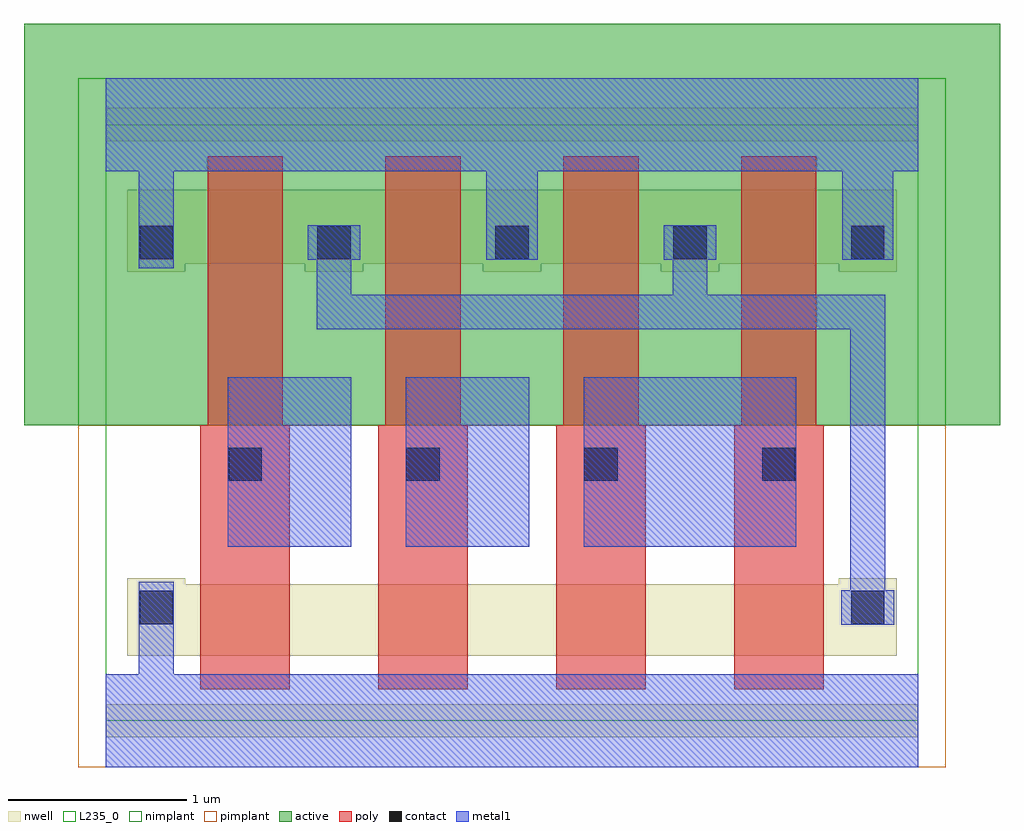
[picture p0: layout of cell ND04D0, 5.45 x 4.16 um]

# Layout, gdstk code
import gdstk
lib = gdstk.Library(unit=1e-6, precision=1e-09)
def R(c, l, rs):  # rectangles x0, y0, x1, y1
    for r in rs: c.add(gdstk.rectangle(r[:2], r[2:], *l))
def A(c, l, x, y, w, h, nx, ny, dx, dy):  # array of equal rectangles
    R(c, l, [(x+i*dx, y+j*dy, x+i*dx+w, y+j*dy+h) for i in range(nx) for j in range(ny)])
def P(c, l, *ps):  # polygons
    for p in ps: c.add(gdstk.Polygon(p, *l))
active = (1, 0)
nwell = (2, 0)
poly = (3, 0)
nimplant = (4, 0)
pimplant = (5, 0)
contact = (6, 0)
metal1 = (7, 0)
L235_0 = (235, 0)

nd04d0 = lib.new_cell('ND04D0')
R(nd04d0, active, [(-0.456,1.653,4.998,3.896)])
R(nd04d0, nwell, [(0,-0.093,4.542,0.093), (0,3.239,4.542,3.425)])
P(nd04d0, nwell, [(0.12,0.363),(0.12,0.796),(0.446,0.796),(0.446,0.763),(4.096,0.763),(4.096,0.796),(4.422,0.796),(4.422,0.363)],
  [(0.12,2.51),(0.12,2.969),(4.422,2.969),(4.422,2.51),(4.096,2.51),(4.096,2.553),(3.428,2.553),(3.428,2.51),(3.102,2.51),(3.102,2.553),(2.434,2.553),(2.434,2.51),(2.108,2.51),(2.108,2.553),(1.44,2.553),(1.44,2.51),(1.114,2.51),(1.114,2.553),(0.446,2.553),(0.446,2.51)])
P(nd04d0, poly, [(0.53,0.177),(0.53,1.653),(0.57,1.653),(0.57,3.155),(0.99,3.155),(0.99,1.653),(1.03,1.653),(1.03,0.177)],
  [(1.524,0.177),(1.524,1.653),(1.564,1.653),(1.564,3.155),(1.984,3.155),(1.984,1.653),(2.024,1.653),(2.024,0.177)],
  [(2.518,0.177),(2.518,1.653),(2.558,1.653),(2.558,3.155),(2.978,3.155),(2.978,1.653),(3.018,1.653),(3.018,0.177)],
  [(3.512,0.177),(3.512,1.653),(3.552,1.653),(3.552,3.155),(3.972,3.155),(3.972,1.653),(4.012,1.653),(4.012,0.177)])
R(nd04d0, nimplant, [(-0.152,1.653,4.694,3.592)])
R(nd04d0, pimplant, [(-0.152,-0.26,4.694,1.653)])
A(nd04d0, contact, 0.687, 1.341, 0.186, 0.186, 4, 1, 0.994, 0)
A(nd04d0, contact, 0.19, 2.58, 0.186, 0.186, 5, 1, 0.994, 0)
R(nd04d0, contact, [(0.19,0.54,0.376,0.726), (4.166,0.54,4.352,0.726)])
R(nd04d0, metal1, [(0.683,0.974,1.374,1.919), (1.677,0.974,2.368,1.919), (2.671,0.974,3.859,1.919)])
P(nd04d0, metal1, [(0,-0.26),(0,0.26),(0.186,0.26),(0.186,0.776),(0.38,0.776),(0.38,0.26),(4.542,0.26),(4.542,-0.26)],
  [(4.112,0.536),(4.112,0.73),(4.162,0.73),(4.162,2.188),(1.18,2.188),(1.18,2.576),(1.13,2.576),(1.13,2.77),(1.424,2.77),(1.424,2.576),(1.374,2.576),(1.374,2.382),(3.168,2.382),(3.168,2.576),(3.118,2.576),(3.118,2.77),(3.412,2.77),(3.412,2.576),(3.362,2.576),(3.362,2.382),(4.356,2.382),(4.356,0.73),(4.406,0.73),(4.406,0.536)],
  [(0.186,2.53),(0.186,3.072),(0,3.072),(0,3.592),(4.542,3.592),(4.542,3.072),(4.402,3.072),(4.402,2.576),(4.116,2.576),(4.116,3.072),(2.414,3.072),(2.414,2.576),(2.128,2.576),(2.128,3.072),(0.38,3.072),(0.38,2.53)])
R(nd04d0, L235_0, [(0,0,4.542,3.332)])

lib.write_gds('ND04D0.gds')
